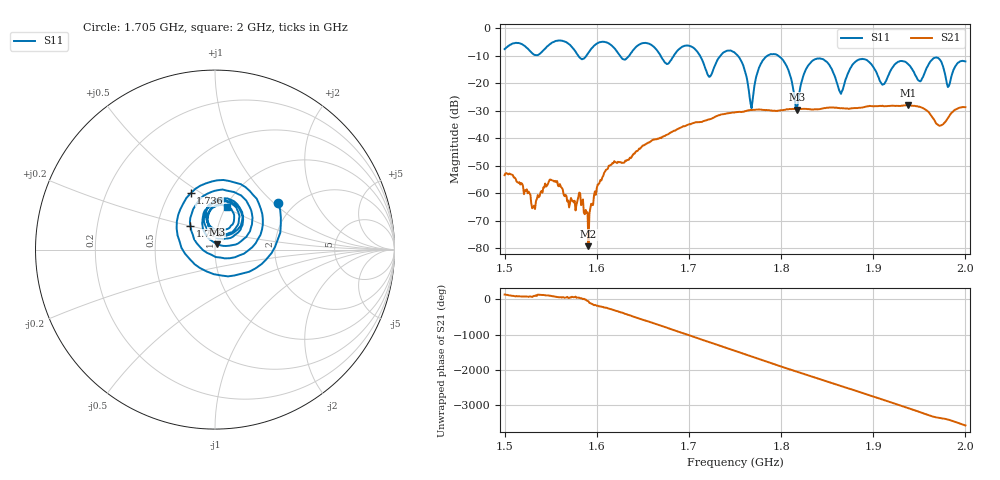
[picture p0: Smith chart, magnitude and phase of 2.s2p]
! NanoVNA-App by SYSJOINT et al v1.1.209 (+OD18)
! Date: 2026-01-21 14:41:06
! Start: 1,5GHz Stop: 2GHz Points: 501
! S-Parameter data: F S11 S21 S12 S22
# Hz S RI R 50
!  Frequency  S11_Real  S11_Imag  S21_Real  S21_Imag  S12_Real  S12_Imag  S22_Real  S22_Imag
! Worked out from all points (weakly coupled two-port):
!   501 points, 1.5 GHz to 2 GHz, reference 50 ohm
!   highest |S21| = -28.01 dB at 1.938 GHz (marker M1); lowest = -79.3 dB at 1.591 GHz (marker M2)
!   lowest |S11| = -29.6 dB at 1.817 GHz (marker M3), VSWR 1.07, Z = 50.9 + j3.21 ohm
!   |S11| at or under -10 dB: 1.712 GHz to 1.734 GHz (22.2 MHz wide, 1.29 % of centre); 1.753 GHz to 1.785 GHz (32.36 MHz wide, 1.83 % of centre); 1.797 GHz to end of sweep (the widest 3 of 6)
!   S12 and S22 are empty: the file has one direction only
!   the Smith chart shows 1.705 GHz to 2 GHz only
!   S11 on the Smith chart (normalised r, x): 1.705 GHz: 1.66, +1.06; 1.736 GHz: 0.64, +0.45; 1.776 GHz: 0.74, +0.20; 2 GHz: 1.01, +0.52
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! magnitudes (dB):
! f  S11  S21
! 1.5 GHz  -7.6  -53.4
! 1.531 GHz  -9.4  -65.1
! 1.551 GHz  -5.4  -55.3
! 1.584 GHz  -11.3  -63.1
! 1.591 GHz  -8.9  -79.3
! 1.612 GHz  -5.4  -51.1
! 1.667 GHz  -8.8  -40.2
! 1.705 GHz  -7.2  -34.5
! 1.722 GHz  -17.7  -33.2
! 1.736 GHz  -9.3  -31.3
! 1.75 GHz  -9.0  -30.6
! 1.767 GHz  -27.6  -29.7
! 1.776 GHz  -14.4  -29.5
! 1.8 GHz  -10.9  -29.8
! 1.817 GHz  -29.6  -29.4
! 1.834 GHz  -11.9  -29.6
! 1.865 GHz  -23.9  -29.1
! 1.884 GHz  -11.5  -29.0
! 1.917 GHz  -16.8  -28.3
! 1.938 GHz  -13.1  -28.0
! 1.982 GHz  -21.1  -32.2
! 2 GHz  -12.1  -28.7
